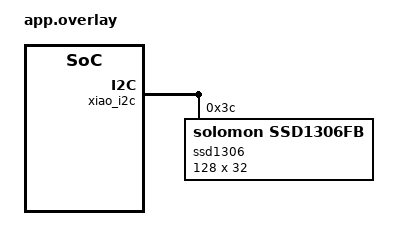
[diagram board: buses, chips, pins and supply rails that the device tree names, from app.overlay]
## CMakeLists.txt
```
cmake_minimum_required(VERSION 3.20.0)

# M2 app for the XIAO nRF54LM20A OLED variant: BLE -> display-text.
# Reuses src/display_oled + src/ble_display from the shared source tree.

find_package(Zephyr REQUIRED HINTS $ENV{ZEPHYR_BASE})
project(nrf54_ble)

target_sources(app PRIVATE
    src/main.cpp
    ${CMAKE_CURRENT_SOURCE_DIR}/../../src/display_oled.cpp
    ${CMAKE_CURRENT_SOURCE_DIR}/../../src/ble_display.cpp
)
target_include_directories(app PRIVATE ${CMAKE_CURRENT_SOURCE_DIR}/../../src)
```

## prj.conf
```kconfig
# M2: console + OLED + BLE peripheral (BAS + display-text service).
CONFIG_CPP=y
CONFIG_STD_CPP17=y

CONFIG_LOG=y
CONFIG_LOG_MODE_IMMEDIATE=y

# Serial console + r/b commands (standing rule)
CONFIG_SERIAL=y
CONFIG_CONSOLE=y
CONFIG_UART_CONSOLE=y
CONFIG_UART_INTERRUPT_DRIVEN=y
CONFIG_REBOOT=y

# OLED (SSD1306 via CFB); concat-buf-size comes from the board dtsi
CONFIG_GPIO=y
CONFIG_I2C=y
CONFIG_DISPLAY=y
CONFIG_SSD1306=y
CONFIG_CHARACTER_FRAMEBUFFER=y
CONFIG_HEAP_MEM_POOL_SIZE=4096

# BLE peripheral
CONFIG_BT=y
CONFIG_BT_PERIPHERAL=y
CONFIG_BT_DEVICE_NAME="gband-OLED"
CONFIG_BT_BAS=y
# Larger ATT MTU so multi-word text fits in one write
CONFIG_BT_L2CAP_TX_MTU=247
CONFIG_BT_BUF_ACL_TX_SIZE=251
CONFIG_BT_BUF_ACL_RX_SIZE=251
```

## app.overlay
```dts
/*
 * SSD1306 0.91" (128x32) OLED on the XIAO header I2C bus (xiao_i2c = i2c22,
 * SDA = D9/P1.05, SCL = D10/P1.06). Same as the M1 bring-up overlay.
 * concat-buf-size for the framebuffer write lives in the board dtsi.
 */

/ {
	chosen {
		zephyr,display = &ssd1306;
	};
};

&xiao_i2c {
	status = "okay";

	ssd1306: ssd1306@3c {
		compatible = "solomon,ssd1306fb";
		reg = <0x3c>;
		width = <128>;
		height = <32>;
		segment-offset = <0>;
		page-offset = <0>;
		display-offset = <0>;
		multiplex-ratio = <31>;
		segment-remap;
		com-invdir;
		com-sequential;
		prechargep = <0x22>;
		/* Color inversion is done in software (cfb_framebuffer_invert) --
		 * the panel-level inversion command is a visual no-op here. */
	};
};
```

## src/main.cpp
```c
/*
 * nRF54LM20A OLED variant -- M2: BLE -> display-text.
 *
 * Advertises a connectable peripheral (name + battery service + custom display
 * service). A central writes a UTF-8 string to the display-text characteristic
 * and it renders on the OLED. This is the host->wristband text path of the
 * product loop (Gemini text reply -> OLED); the mic/dictation uplink is M3.
 *
 * Serial console (standing rule): r reboot, b bootloader-info.
 */
#include <zephyr/kernel.h>
#include <zephyr/device.h>
#include <zephyr/drivers/uart.h>
#include <zephyr/sys/reboot.h>
#include <zephyr/logging/log.h>

#include <zephyr/bluetooth/bluetooth.h>
#include <zephyr/bluetooth/conn.h>
#include <zephyr/bluetooth/services/bas.h>

#include "display_oled.h"
#include "ble_display.h"

LOG_MODULE_REGISTER(main, LOG_LEVEL_INF);

#define DEVICE_NAME     CONFIG_BT_DEVICE_NAME
#define DEVICE_NAME_LEN (sizeof(DEVICE_NAME) - 1)

static const struct device *const console_dev =
	DEVICE_DT_GET(DT_CHOSEN(zephyr_console));

/* Advertising: general discoverable, no BR/EDR, complete local name. */
static const struct bt_data ad[] = {
	BT_DATA_BYTES(BT_DATA_FLAGS, (BT_LE_AD_GENERAL | BT_LE_AD_NO_BREDR)),
	BT_DATA(BT_DATA_NAME_COMPLETE, DEVICE_NAME, DEVICE_NAME_LEN),
};

/* ---- BLE text -> OLED ---- */
static void on_text(const uint8_t *data, uint16_t len)
{
	/* Copy + NUL-terminate (bounded), split on the first newline into two
	 * lines; otherwise the whole string goes on line 1 (CFB clips overflow). */
	char buf[64];
	uint16_t n = (len < sizeof(buf) - 1) ? len : (sizeof(buf) - 1);
	memcpy(buf, data, n);
	buf[n] = '\0';

	char *line2 = strchr(buf, '\n');
	if (line2 != NULL) {
		*line2 = '\0';
		line2++;
	}
	LOG_INF("display-text (%u B): \"%s\"%s%s", len, buf,
		line2 ? " / " : "", line2 ? line2 : "");
	display_oled_show(buf, line2);
}

/* ---- Connection lifecycle ---- */
/* Connectable, general-discoverable, fast advertising interval. */
#define ADV_PARAM BT_LE_ADV_PARAM(BT_LE_ADV_OPT_CONN, \
	BT_GAP_ADV_FAST_INT_MIN_2, BT_GAP_ADV_FAST_INT_MAX_2, NULL)

static void start_adv(void)
{
	int err = bt_le_adv_start(ADV_PARAM, ad, ARRAY_SIZE(ad), NULL, 0);
	if (err) {
		LOG_ERR("advertising start failed: %d", err);
		display_oled_show("BLE adv", "FAILED");
	} else {
		LOG_INF("advertising as \"%s\"", DEVICE_NAME);
		display_oled_show("gband-OLED", "advertising");
	}
}

static void connected(struct bt_conn *conn, uint8_t err)
{
	if (err) {
		LOG_ERR("connect failed: %u", err);
		return;
	}
	LOG_INF("connected");
	display_oled_show("connected", "write text...");
}

static void disconnected(struct bt_conn *conn, uint8_t reason)
{
	LOG_INF("disconnected (reason 0x%02x)", reason);
	start_adv();   /* self-heal: re-advertise (mirrors main.cpp on beta) */
}

BT_CONN_CB_DEFINE(conn_cbs) = {
	.connected = connected,
	.disconnected = disconnected,
};

/* ---- Serial console ---- */
/* The UART rx callback runs in ISR context, where a blocking I2C transfer isn't
 * allowed. Draw operations are therefore deferred to the system workqueue. */
static void estate_work_handler(struct k_work *w)
{
	ARG_UNUSED(w);
	display_oled_estate_test();
}
static K_WORK_DEFINE(estate_work, estate_work_handler);

static void uart_rx_cb(const struct device *dev, void *user_data)
{
	ARG_UNUSED(user_data);
	uint8_t c;

	if (!uart_irq_update(dev) || !uart_irq_rx_ready(dev)) {
		return;
	}
	while (uart_fifo_read(dev, &c, 1) == 1) {
		switch (c) {
		case 'r':
			LOG_INF("reboot (cold)");
			sys_reboot(SYS_REBOOT_COLD);
			break;
		case 'b':
			LOG_INF("no UF2 bootloader on nRF54L -- flash via "
				"./flash_nrf54.sh (probe-rs); rebooting cold");
			sys_reboot(SYS_REBOOT_COLD);
			break;
		case 'd':
			/* Screen-estate test: deferred to a thread (I2C can't run in
			 * this ISR context). */
			k_work_submit(&estate_work);
			break;
		default:
			break;
		}
	}
}

int main(void)
{
	LOG_INF("=== gestureband nRF54LM20A OLED variant -- M2 BLE->OLED ===");

	if (device_is_ready(console_dev)) {
		uart_irq_callback_user_data_set(console_dev, uart_rx_cb, NULL);
		uart_irq_rx_enable(console_dev);
	}

	if (display_oled_init() == 0) {
		display_oled_show("gband-OLED", "BLE booting");
	}

	ble_display_set_handler(on_text);

	int err = bt_enable(NULL);
	if (err) {
		LOG_ERR("bt_enable failed: %d", err);
		display_oled_show("BLE", "init FAILED");
		return 0;
	}
	LOG_INF("bluetooth enabled");
	bt_bas_set_battery_level(100);
	start_adv();

	return 0;
}
```
